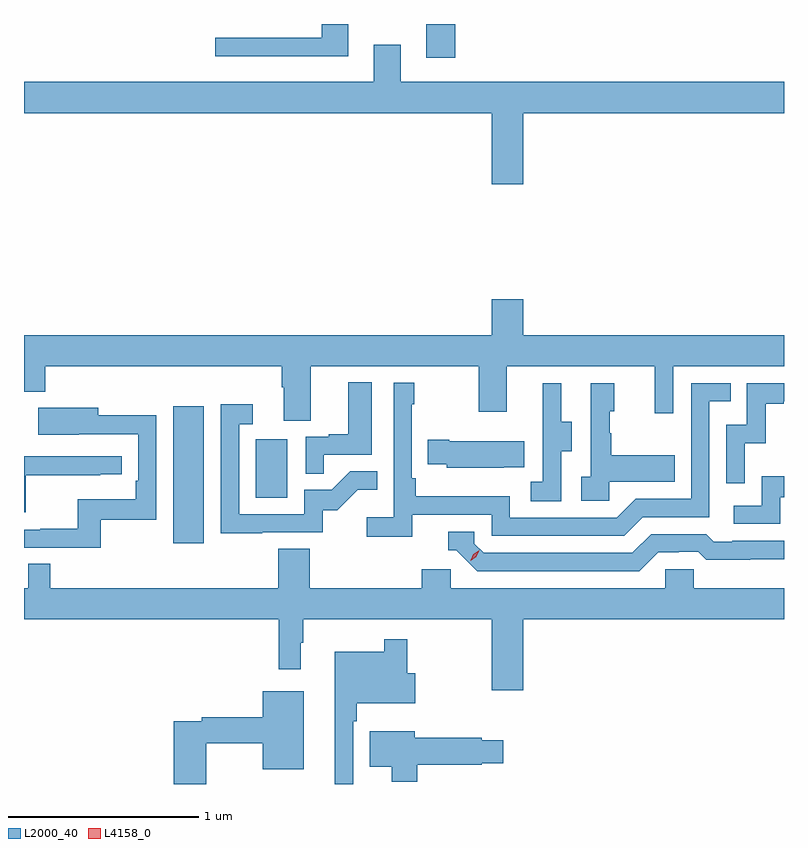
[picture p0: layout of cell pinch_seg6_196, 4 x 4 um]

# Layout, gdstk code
import gdstk
lib = gdstk.Library(unit=1e-6, precision=1e-09)
def R(c, l, rs):  # rectangles x0, y0, x1, y1
    for r in rs: c.add(gdstk.rectangle(r[:2], r[2:], *l))
def P(c, l, *ps):  # polygons
    for p in ps: c.add(gdstk.Polygon(p, *l))
L2000_40 = (2000, 40)
L4158_0 = (4158, 0)

pinch_seg6_196 = lib.new_cell('pinch_seg6_196')
R(pinch_seg6_196, L2000_40, [(1038.455,927.756,1038.616,928.477), (1038.89,927.996,1039.054,928.303), (1039.787,930.312,1039.94,930.489)])
P(pinch_seg6_196, L2000_40, [(1039.375,930.489),(1039.235,930.489),(1039.235,930.417),(1038.675,930.417),(1038.675,930.32),(1039.375,930.32)],
  [(1040.296,930.02),(1041.669,930.02),(1041.669,930.184),(1039.651,930.184),(1039.651,930.379),(1039.511,930.379),(1039.511,930.184),(1037.669,930.184),(1037.669,930.02),(1040.132,930.02),(1040.132,929.646),(1040.296,929.646)],
  [(1039.177,928.688),(1040.062,928.688),(1040.062,928.449),(1040.209,928.449),(1040.209,928.688),(1040.99,928.688),(1040.99,928.44),(1041.087,928.44),(1041.087,928.688),(1041.669,928.688),(1041.669,928.852),(1040.296,928.852),(1040.296,929.041),(1040.132,929.041),(1040.132,928.852),(1037.669,928.852),(1037.669,928.553),(1037.78,928.553),(1037.78,928.688),(1039.025,928.688),(1039.025,928.576),(1039.037,928.576),(1039.037,928.402),(1039.177,928.402)],
  [(1039.247,928.221),(1039.498,928.221),(1039.498,928.603),(1039.376,928.603),(1039.376,928.33),(1039.273,928.33),(1039.273,928.317),(1039.152,928.317),(1039.152,928.123),(1039.247,928.123)],
  [(1039.712,927.906),(1040.13,927.906),(1040.13,927.795),(1040.827,927.795),(1040.926,927.894),(1041.276,927.894),(1041.276,928.503),(1041.389,928.503),(1041.389,928.599),(1041.18,928.599),(1041.18,927.99),(1040.889,927.99),(1040.79,927.891),(1040.226,927.891),(1040.226,928.003),(1039.73,928.003),(1039.73,928.099),(1039.71,928.099),(1039.71,928.487),(1039.723,928.487),(1039.723,928.6),(1039.614,928.6),(1039.614,927.892),(1039.473,927.892),(1039.473,927.79),(1039.712,927.79)],
  [(1041.462,928.283),(1041.572,928.283),(1041.572,928.491),(1041.667,928.491),(1041.667,928.503),(1041.669,928.503),(1041.669,928.599),(1041.474,928.599),(1041.474,928.38),(1041.366,928.38),(1041.366,928.071),(1041.462,928.071)],
  [(1040.496,928.24),(1040.551,928.24),(1040.551,928.395),(1040.497,928.395),(1040.497,928.597),(1040.399,928.597),(1040.399,928.383),(1040.4,928.383),(1040.4,928.079),(1040.337,928.079),(1040.337,927.976),(1040.496,927.976)],
  [(1040.748,928.079),(1041.095,928.079),(1041.095,928.219),(1040.761,928.219),(1040.761,928.334),(1040.751,928.334),(1040.751,928.452),(1040.776,928.452),(1040.776,928.597),(1040.652,928.597),(1040.652,928.106),(1040.601,928.106),(1040.601,927.981),(1040.748,927.981)],
  [(1038.923,927.813),(1039.242,927.813),(1039.242,927.93),(1039.318,927.93),(1039.425,928.037),(1039.529,928.037),(1039.529,928.136),(1039.386,928.136),(1039.288,928.038),(1039.143,928.038),(1039.143,927.909),(1038.801,927.909),(1038.801,928.383),(1038.874,928.383),(1038.874,928.489),(1038.705,928.489),(1038.705,927.808),(1038.923,927.808)],
  [(1038.073,927.879),(1038.366,927.879),(1038.366,928.43),(1038.061,928.43),(1038.061,928.468),(1037.743,928.468),(1037.743,928.328),(1037.957,928.328),(1037.957,928.329),(1038.27,928.329),(1038.27,928.084),(1038.257,928.084),(1038.257,927.988),(1037.952,927.988),(1037.952,927.833),(1037.755,927.833),(1037.755,927.828),(1037.669,927.828),(1037.669,927.732),(1038.073,927.732)],
  [(1040.195,928.157),(1040.303,928.157),(1040.303,928.294),(1039.906,928.294),(1039.906,928.302),(1039.795,928.302),(1039.795,928.172),(1039.893,928.172),(1039.893,928.154),(1040.195,928.154)],
  [(1037.678,928.114),(1038.071,928.114),(1038.071,928.119),(1038.184,928.119),(1038.184,928.215),(1037.669,928.215),(1037.669,927.918),(1037.678,927.918)],
  [(1041.648,927.999),(1041.669,927.999),(1041.669,928.108),(1041.552,928.108),(1041.552,927.954),(1041.405,927.954),(1041.405,927.858),(1041.648,927.858)],
  [(1041.007,927.708),(1041.114,927.708),(1041.114,927.711),(1041.217,927.711),(1041.259,927.669),(1041.492,927.669),(1041.492,927.671),(1041.669,927.671),(1041.669,927.768),(1041.397,927.768),(1041.397,927.765),(1041.298,927.765),(1041.259,927.804),(1040.97,927.804),(1040.871,927.705),(1040.088,927.705),(1040.04,927.753),(1040.04,927.816),(1039.901,927.816),(1039.901,927.72),(1039.944,927.72),(1040.055,927.609),(1040.908,927.609)],
  [(1040.296,927.356),(1041.669,927.356),(1041.669,927.52),(1041.195,927.52),(1041.195,927.618),(1041.045,927.618),(1041.045,927.52),(1039.914,927.52),(1039.914,927.618),(1039.763,927.618),(1039.763,927.52),(1039.172,927.52),(1039.172,927.728),(1039.007,927.728),(1039.007,927.52),(1037.807,927.52),(1037.807,927.647),(1037.691,927.647),(1037.691,927.52),(1037.669,927.52),(1037.669,927.356),(1039.009,927.356),(1039.009,927.093),(1039.126,927.093),(1039.126,927.233),(1039.138,927.233),(1039.138,927.356),(1040.132,927.356),(1040.132,926.982),(1040.296,926.982)],
  [(1039.401,926.819),(1039.421,926.819),(1039.421,926.915),(1039.728,926.915),(1039.728,927.073),(1039.687,927.073),(1039.687,927.25),(1039.566,927.25),(1039.566,927.184),(1039.304,927.184),(1039.304,926.489),(1039.401,926.489)],
  [(1038.628,926.704),(1038.926,926.704),(1038.926,926.567),(1039.141,926.567),(1039.141,926.977),(1038.926,926.977),(1038.926,926.84),(1038.604,926.84),(1038.604,926.82),(1038.458,926.82),(1038.458,926.489),(1038.628,926.489)],
  [(1039.739,926.59),(1040.078,926.59),(1040.078,926.597),(1040.191,926.597),(1040.191,926.719),(1040.078,926.719),(1040.078,926.732),(1039.726,926.732),(1039.726,926.767),(1039.49,926.767),(1039.49,926.579),(1039.604,926.579),(1039.604,926.501),(1039.739,926.501)])
P(pinch_seg6_196, L4158_0, [(1040.019,927.665),(1040.019,927.666),(1040.034,927.698),(1040.065,927.718),(1040.065,927.718),(1040.065,927.718),(1040.05,927.685),(1040.019,927.665)])

lib.write_gds('pinch_seg6_196.gds')
